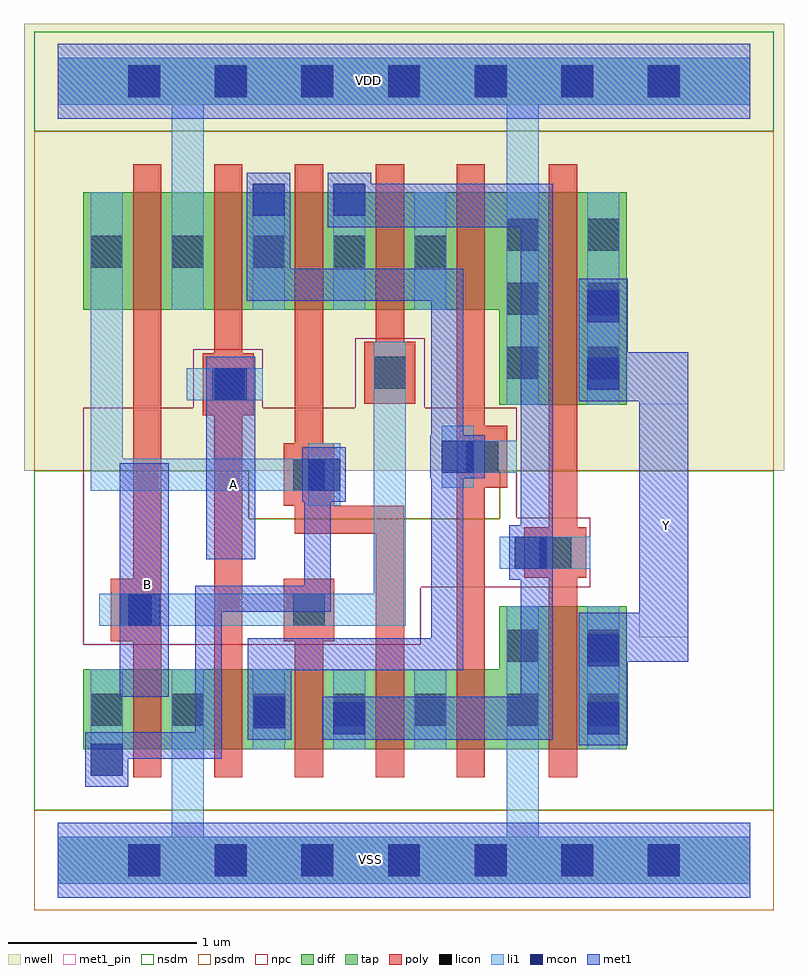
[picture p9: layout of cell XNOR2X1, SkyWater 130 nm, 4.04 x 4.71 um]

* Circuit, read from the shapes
.subckt XNOR2X1 A B VDD VSS Y
XM1 VSS B n1 VSS sky130_fd_pr__nfet_01v8 w=0.425 l=0.15
XM2 n2 A VSS VSS sky130_fd_pr__nfet_01v8 w=0.425 l=0.15
XM3 n3 B n2 VSS sky130_fd_pr__nfet_01v8 w=0.425 l=0.15
XM4 n4 n1 n3 VSS sky130_fd_pr__nfet_01v8 w=0.425 l=0.15
XM5 VSS n2 n4 VSS sky130_fd_pr__nfet_01v8 w=0.425 l=0.15
XM6 Y n3 VSS VSS sky130_fd_pr__nfet_01v8 w=0.76 l=0.15
XM7 VDD B n1 VDD sky130_fd_pr__pfet_01v8 w=0.625 l=0.15
XM8 n2 A VDD VDD sky130_fd_pr__pfet_01v8 w=0.625 l=0.15
XM9 n3 n1 n2 VDD sky130_fd_pr__pfet_01v8 w=0.625 l=0.15
XM10 n5 B n3 VDD sky130_fd_pr__pfet_01v8 w=0.625 l=0.15
XM11 VDD n2 n5 VDD sky130_fd_pr__pfet_01v8 w=0.625 l=0.15
XM12 Y n3 VDD VDD sky130_fd_pr__pfet_01v8 w=1.13 l=0.15
.ends

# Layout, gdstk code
from math import pi, radians
import gdstk
lib = gdstk.Library(unit=1e-6, precision=1e-09)
def R(c, l, rs):  # rectangles x0, y0, x1, y1
    for r in rs: c.add(gdstk.rectangle(r[:2], r[2:], *l))
def A(c, l, x, y, w, h, nx, ny, dx, dy):  # array of equal rectangles
    R(c, l, [(x+i*dx, y+j*dy, x+i*dx+w, y+j*dy+h) for i in range(nx) for j in range(ny)])
def P(c, l, *ps):  # polygons
    for p in ps: c.add(gdstk.Polygon(p, *l))
nwell = (64, 20)
diff = (65, 20)
tap = (65, 44)
poly = (66, 20)
licon = (66, 44)
li1 = (67, 20)
mcon = (67, 44)
met1_pin = (68, 16)
met1 = (68, 20)
nsdm = (93, 44)
psdm = (94, 20)
npc = (95, 20)

pfet_01v8_cdns_715785618 = lib.new_cell('pfet_01v8_CDNS_7157856182052')
R(pfet_01v8_cdns_715785618, nwell, [(-0.405,-0.18,0.385,0.805)])
R(pfet_01v8_cdns_715785618, diff, [(-0.225,0,0,0.625), (0,0,0.15,0.625), (0.15,0,0.205,0.625)])
R(pfet_01v8_cdns_715785618, poly, [(0,-0.15,0.15,-0.095), (0,-0.095,0.15,0), (0,0,0.15,0.625), (0,0.625,0.15,0.72), (0,0.72,0.15,0.775)])
R(pfet_01v8_cdns_715785618, licon, [(-0.225,0.225,-0.055,0.395)])
R(pfet_01v8_cdns_715785618, li1, [(-0.225,0,-0.055,0.625)])
R(pfet_01v8_cdns_715785618, psdm, [(-0.235,-0.13,0.215,0.755)])

c_pfet_01v8_cdns_715785618 = lib.new_cell('pfet_01v8_CDNS_7157856182032')
R(c_pfet_01v8_cdns_715785618, nwell, [(-0.405,-0.18,0.385,0.805)])
R(c_pfet_01v8_cdns_715785618, diff, [(-0.225,0,0,0.625), (0,0,0.15,0.625), (0.15,0,0.205,0.625)])
R(c_pfet_01v8_cdns_715785618, poly, [(0,-0.15,0.15,-0.095), (0,-0.095,0.15,0), (0,0,0.15,0.625), (0,0.625,0.15,0.72), (0,0.72,0.15,0.775)])
R(c_pfet_01v8_cdns_715785618, psdm, [(-0.235,-0.13,0.215,0.755)])

c_pfet_01v8_cdns_715785618_ = lib.new_cell('pfet_01v8_CDNS_7157856182035')
R(c_pfet_01v8_cdns_715785618_, nwell, [(-0.255,-0.18,0.385,0.805)])
R(c_pfet_01v8_cdns_715785618_, diff, [(-0.075,0,0,0.625), (0,0,0.15,0.625), (0.15,0,0.205,0.625)])
R(c_pfet_01v8_cdns_715785618_, poly, [(0,-0.15,0.15,-0.095), (0,-0.095,0.15,0), (0,0,0.15,0.625), (0,0.625,0.15,0.72), (0,0.72,0.15,0.775)])
R(c_pfet_01v8_cdns_715785618_, psdm, [(0.045,-0.13,0.215,0.755)])

nfet_01v8_cdns_715785618 = lib.new_cell('nfet_01v8_CDNS_7157856182030')
R(nfet_01v8_cdns_715785618, diff, [(-0.055,0,0,0.425), (0,0,0.15,0.425), (0.15,0,0.375,0.425)])
R(nfet_01v8_cdns_715785618, poly, [(0,-0.15,0.15,-0.095), (0,-0.095,0.15,0), (0,0,0.15,0.425), (0,0.425,0.15,0.52), (0,0.52,0.15,0.575)])
R(nfet_01v8_cdns_715785618, licon, [(0.205,0.125,0.375,0.295)])
R(nfet_01v8_cdns_715785618, li1, [(0.205,0,0.375,0.425)])
R(nfet_01v8_cdns_715785618, nsdm, [(-0.065,-0.13,0.385,0.555)])

c_pfet_01v8_cdns_715785618__ = lib.new_cell('pfet_01v8_CDNS_7157856182017')
R(c_pfet_01v8_cdns_715785618__, nwell, [(-0.235,-0.18,0.595,0.805)])
R(c_pfet_01v8_cdns_715785618__, diff, [(-0.055,0,0,0.625), (0,0,0.15,0.625), (0.15,0,0.415,0.625)])
R(c_pfet_01v8_cdns_715785618__, poly, [(0,-0.15,0.15,-0.095), (0,-0.095,0.15,0), (0,0,0.15,0.625), (0,0.625,0.15,0.72), (0,0.72,0.15,0.775)])
R(c_pfet_01v8_cdns_715785618__, licon, [(0.205,0.225,0.375,0.395)])
R(c_pfet_01v8_cdns_715785618__, li1, [(0.205,0,0.375,0.625)])
R(c_pfet_01v8_cdns_715785618__, psdm, [(-0.065,-0.13,0.555,0.755)])

c_pfet_01v8_cdns_715785618___ = lib.new_cell('pfet_01v8_CDNS_7157856182053')
R(c_pfet_01v8_cdns_715785618___, nwell, [(-0.405,-0.18,0.555,0.805)])
R(c_pfet_01v8_cdns_715785618___, diff, [(-0.225,0,0,0.625), (0,0,0.15,0.625), (0.15,0,0.375,0.625)])
R(c_pfet_01v8_cdns_715785618___, poly, [(0,-0.15,0.15,-0.095), (0,-0.095,0.15,0), (0,0,0.15,0.625), (0,0.625,0.15,0.72), (0,0.72,0.15,0.775)])
R(c_pfet_01v8_cdns_715785618___, licon, [(-0.225,0.225,-0.055,0.395), (0.205,0.225,0.375,0.395)])
R(c_pfet_01v8_cdns_715785618___, li1, [(-0.225,0,-0.055,0.625), (0.205,0,0.375,0.625)])
R(c_pfet_01v8_cdns_715785618___, psdm, [(-0.235,-0.13,0.385,0.755)])

c_pfet_01v8_cdns_715785618____ = lib.new_cell('pfet_01v8_CDNS_7157856182038')
R(c_pfet_01v8_cdns_715785618____, nwell, [(-0.445,-0.18,0.595,1.31)])
R(c_pfet_01v8_cdns_715785618____, diff, [(-0.265,0,0,1.13), (0,0,0.15,1.13), (0.15,0,0.415,1.13)])
R(c_pfet_01v8_cdns_715785618____, poly, [(0,-0.15,0.15,-0.095), (0,-0.095,0.15,0), (0,0,0.15,1.13), (0,1.13,0.15,1.225), (0,1.225,0.15,1.28)])
A(c_pfet_01v8_cdns_715785618____, licon, -0.225, 0.14, 0.17, 0.17, 1, 3, 0, 0.34)
A(c_pfet_01v8_cdns_715785618____, licon, 0.205, 0.14, 0.17, 0.17, 1, 3, 0, 0.34)
R(c_pfet_01v8_cdns_715785618____, li1, [(-0.225,0,-0.055,1.13), (0.205,0,0.375,1.13)])
R(c_pfet_01v8_cdns_715785618____, psdm, [(-0.405,-0.13,0.555,1.26)])

c_nfet_01v8_cdns_715785618 = lib.new_cell('nfet_01v8_CDNS_715785618208')
R(c_nfet_01v8_cdns_715785618, diff, [(-0.055,0,0,0.425), (0,0,0.15,0.425), (0.15,0,0.415,0.425)])
R(c_nfet_01v8_cdns_715785618, poly, [(0,-0.15,0.15,-0.095), (0,-0.095,0.15,0), (0,0,0.15,0.425), (0,0.425,0.15,0.52), (0,0.52,0.15,0.575)])
R(c_nfet_01v8_cdns_715785618, licon, [(0.205,0.125,0.375,0.295)])
R(c_nfet_01v8_cdns_715785618, li1, [(0.205,0,0.375,0.425)])
R(c_nfet_01v8_cdns_715785618, nsdm, [(-0.065,-0.13,0.555,0.555)])

c_nfet_01v8_cdns_715785618_ = lib.new_cell('nfet_01v8_CDNS_7157856182054')
R(c_nfet_01v8_cdns_715785618_, diff, [(-0.055,0,0,0.425), (0,0,0.15,0.425), (0.15,0,0.205,0.425)])
R(c_nfet_01v8_cdns_715785618_, poly, [(0,-0.15,0.15,-0.095), (0,-0.095,0.15,0), (0,0,0.15,0.425), (0,0.425,0.15,0.52), (0,0.52,0.15,0.575)])
R(c_nfet_01v8_cdns_715785618_, nsdm, [(-0.065,-0.13,0.215,0.555)])

c_nfet_01v8_cdns_715785618__ = lib.new_cell('nfet_01v8_CDNS_7157856182034')
R(c_nfet_01v8_cdns_715785618__, diff, [(-0.265,0,0,0.76), (0,0,0.15,0.76), (0.15,0,0.415,0.76)])
R(c_nfet_01v8_cdns_715785618__, poly, [(0,-0.15,0.15,-0.095), (0,-0.095,0.15,0), (0,0,0.15,0.76), (0,0.76,0.15,0.855), (0,0.855,0.15,0.91)])
R(c_nfet_01v8_cdns_715785618__, licon, [(-0.225,0.125,-0.055,0.295), (0.205,0.125,0.375,0.295), (-0.225,0.465,-0.055,0.635), (0.205,0.465,0.375,0.635)])
R(c_nfet_01v8_cdns_715785618__, li1, [(-0.225,0,-0.055,0.76), (0.205,0,0.375,0.76)])
R(c_nfet_01v8_cdns_715785618__, nsdm, [(-0.405,-0.13,0.555,0.89)])

c_nfet_01v8_cdns_715785618___ = lib.new_cell('nfet_01v8_CDNS_7157856182055')
R(c_nfet_01v8_cdns_715785618___, diff, [(-0.225,0,0,0.425), (0,0,0.15,0.425), (0.15,0,0.375,0.425)])
R(c_nfet_01v8_cdns_715785618___, poly, [(0,-0.15,0.15,-0.095), (0,-0.095,0.15,0), (0,0,0.15,0.425), (0,0.425,0.15,0.52), (0,0.52,0.15,0.575)])
R(c_nfet_01v8_cdns_715785618___, licon, [(-0.225,0.125,-0.055,0.295), (0.205,0.125,0.375,0.295)])
R(c_nfet_01v8_cdns_715785618___, li1, [(-0.225,0,-0.055,0.425), (0.205,0,0.375,0.425)])
R(c_nfet_01v8_cdns_715785618___, nsdm, [(-0.235,-0.13,0.385,0.555)])

c_nfet_01v8_cdns_715785618____ = lib.new_cell('nfet_01v8_CDNS_7157856182047')
R(c_nfet_01v8_cdns_715785618____, diff, [(-0.075,0,0,0.425), (0,0,0.15,0.425), (0.15,0,0.375,0.425)])
R(c_nfet_01v8_cdns_715785618____, poly, [(0,-0.15,0.15,-0.095), (0,-0.095,0.15,0), (0,0,0.15,0.425), (0,0.425,0.15,0.52), (0,0.52,0.15,0.575)])
R(c_nfet_01v8_cdns_715785618____, nsdm, [(0.045,-0.13,0.385,0.555)])

l1m1_c_cdns_715785618201 = lib.new_cell('L1M1_C_CDNS_7157856182010')
R(l1m1_c_cdns_715785618201, li1, [(-0.085,-0.085,0.085,0.165)])
R(l1m1_c_cdns_715785618201, mcon, [(-0.085,-0.085,0.085,0.085)])
R(l1m1_c_cdns_715785618201, met1, [(-0.115,-0.145,0.115,0.145)])

l1m1_c_cdns_715785618202 = lib.new_cell('L1M1_C_CDNS_715785618202')
R(l1m1_c_cdns_715785618202, li1, [(-0.085,-0.165,0.085,0.165)])
R(l1m1_c_cdns_715785618202, mcon, [(-0.085,-0.085,0.085,0.085)])
R(l1m1_c_cdns_715785618202, met1, [(-0.115,-0.145,0.115,0.145)])

pyl1con_c_cdns_715785618 = lib.new_cell('PYL1CON_C_CDNS_715785618200')
R(pyl1con_c_cdns_715785618, poly, [(-0.135,-0.165,0.135,0.165)])
R(pyl1con_c_cdns_715785618, licon, [(-0.085,-0.085,0.085,0.085)])
R(pyl1con_c_cdns_715785618, npc, [(-0.185,-0.185,0.185,0.185)])

c_l1m1_c_cdns_715785618201 = lib.new_cell('L1M1_C_CDNS_7157856182014')
R(c_l1m1_c_cdns_715785618201, li1, [(-0.085,-0.165,0.085,0.085)])
R(c_l1m1_c_cdns_715785618201, mcon, [(-0.085,-0.085,0.085,0.085)])
R(c_l1m1_c_cdns_715785618201, met1, [(-0.115,-0.145,0.115,0.145)])

l1m1_c_cdns_715785618206 = lib.new_cell('L1M1_C_CDNS_715785618206')
R(l1m1_c_cdns_715785618206, li1, [(-0.085,-0.165,0.085,0.165)])
R(l1m1_c_cdns_715785618206, mcon, [(-0.085,-0.085,0.085,0.085)])
R(l1m1_c_cdns_715785618206, met1, [(-0.145,-0.115,0.145,0.115)])

l1m1_c_cdns_715785618205 = lib.new_cell('L1M1_C_CDNS_715785618205')
R(l1m1_c_cdns_715785618205, li1, [(-0.085,-0.345,0.085,0.345)])
R(l1m1_c_cdns_715785618205, mcon, [(-0.085,-0.265,0.085,-0.095), (-0.085,0.095,0.085,0.265)])
R(l1m1_c_cdns_715785618205, met1, [(-0.115,-0.325,0.115,0.325)])

l1m1_c_cdns_715785618203 = lib.new_cell('L1M1_C_CDNS_715785618203')
R(l1m1_c_cdns_715785618203, li1, [(-0.165,-0.085,0.165,0.085)])
R(l1m1_c_cdns_715785618203, mcon, [(-0.085,-0.085,0.085,0.085)])
R(l1m1_c_cdns_715785618203, met1, [(-0.115,-0.145,0.115,0.145)])

xnor2x1 = lib.new_cell('XNOR2X1')
R(xnor2x1, nwell, [(-0.18,2.07,3.86,4.305), (-0.18,3.875,3.86,4.445)])
A(xnor2x1, licon, 0.375, -0.085, 0.17, 0.17, 7, 2, 0.46, 4.14)
R(xnor2x1, licon, [(1.895,0.715,2.065,0.885), (1.895,3.15,2.065,3.32)])
R(xnor2x1, li1, [(1.895,0.59,2.065,1.015), (1.895,2.925,2.065,3.55)])
A(xnor2x1, mcon, 0.375, -0.085, 0.17, 0.17, 7, 2, 0.46, 4.14)
R(xnor2x1, met1_pin, [(0.33,0.87,0.59,2.11), (3.09,1.185,3.35,2.425), (0.79,1.6,1.05,2.675)])
R(xnor2x1, nsdm, [(-0.125,3.875,3.805,4.405), (-0.125,3.93,3.805,4.35)])
P(xnor2x1, nsdm, [(3.805,2.07),(2.35,2.07),(2.35,1.815),(1.015,1.815),(1.015,2.07),(-0.125,2.07),(-0.125,0.265),(3.805,0.265)])
R(xnor2x1, psdm, [(-0.125,-0.265,3.805,0.265), (-0.125,-0.21,3.805,0.21)])
P(xnor2x1, psdm, [(3.805,3.875),(-0.125,3.875),(-0.125,2.07),(1.015,2.07),(1.015,1.815),(2.35,1.815),(2.35,2.07),(3.805,2.07)])
P(xnor2x1, npc, [(2.83,1.82),(2.44,1.82),(2.44,2.405),(0.135,2.405),(0.135,1.145),(1.93,1.145),(1.93,1.45),(2.83,1.45)])
xnor2x1.add(gdstk.FlexPath([(1.765,1.165),(1.765,1.81)], 0.15, ends=(0, 0.075), simple_path=True, layer=66, datatype=20))  # poly
xnor2x1.add(gdstk.FlexPath([(1.395,1.81),(1.765,1.81)], 0.15, ends="extended", simple_path=True, layer=66, datatype=20))  # poly
xnor2x1.add(gdstk.FlexPath([(1.335,2.05),(1.335,2.775)], 0.15, ends=(0.165, 0), simple_path=True, layer=66, datatype=20))  # poly
xnor2x1.add(gdstk.FlexPath([(1.335,2.05),(1.395,2.05)], 0.33, ends=(0.075, 0.075), simple_path=True, layer=66, datatype=20))  # poly
xnor2x1.add(gdstk.FlexPath([(1.335,1.81),(1.335,2.05)], 0.15, ends=(0.075, 0.165), simple_path=True, layer=66, datatype=20))  # poly
xnor2x1.add(gdstk.FlexPath([(1.335,2.05),(1.335,1.96)], 0.27, ends=(0.165, 0.075), simple_path=True, layer=66, datatype=20))  # poly
xnor2x1.add(gdstk.FlexPath([(1.765,2.775),(1.765,2.59)], 0.15, ends="flush", simple_path=True, layer=66, datatype=20))  # poly
xnor2x1.add(gdstk.FlexPath([(2.195,2.775),(2.195,1.095)], 0.15, ends="flush", simple_path=True, layer=66, datatype=20))  # poly
xnor2x1.add(gdstk.FlexPath([(0.905,2.88),(0.905,1.07)], 0.15, ends="flush", simple_path=True, layer=66, datatype=20))  # poly
xnor2x1.add(gdstk.FlexPath([(0.475,1.165),(0.475,2.85)], 0.15, ends="flush", simple_path=True, layer=66, datatype=20))  # poly
xnor2x1.add(gdstk.FlexPath([(2.685,2.27),(2.685,1.415)], 0.15, ends="flush", simple_path=True, layer=66, datatype=20))  # poly
xnor2x1.add(gdstk.FlexPath([(0.26,2.53),(0.18,2.53)], 0.17, ends=(0.085, 0), simple_path=True, layer=67, datatype=20))  # li1
xnor2x1.add(gdstk.FlexPath([(0.4,2.05),(0.26,2.05)], 0.17, ends=(0, 0.085), simple_path=True, layer=67, datatype=20))  # li1
xnor2x1.add(gdstk.FlexPath([(0.26,2.05),(0.26,2.53)], 0.17, ends="extended", simple_path=True, layer=67, datatype=20))  # li1
xnor2x1.add(gdstk.FlexPath([(0.685,2.53),(1.09,2.53)], 0.17, ends="flush", simple_path=True, layer=67, datatype=20))  # li1
xnor2x1.add(gdstk.FlexPath([(1.765,1.33),(1.765,2.755)], 0.17, ends=(0.085, 0), simple_path=True, layer=67, datatype=20))  # li1
xnor2x1.add(gdstk.FlexPath([(1.5,2.05),(0.4,2.05)], 0.17, ends="flush", simple_path=True, layer=67, datatype=20))  # li1
xnor2x1.add(gdstk.FlexPath([(2.135,2.145),(2.44,2.145)], 0.17, ends="flush", simple_path=True, layer=67, datatype=20))  # li1
xnor2x1.add(gdstk.FlexPath([(2.525,1.635),(2.83,1.635)], 0.17, ends="flush", simple_path=True, layer=67, datatype=20))  # li1
xnor2x1.add(gdstk.FlexPath([(0.26,2.53),(0.26,2.925)], 0.17, ends=(0.085, 0), simple_path=True, layer=67, datatype=20))  # li1
xnor2x1.add(gdstk.FlexPath([(1.765,1.33),(0.22,1.33)], 0.17, ends=(0.085, 0), simple_path=True, layer=67, datatype=20))  # li1
xnor2x1.add(gdstk.FlexPath([(1.85,1.33),(1.765,1.33)], 0.17, ends=(0, 0.085), simple_path=True, layer=67, datatype=20))  # li1
xnor2x1.add(gdstk.FlexPath([(2.47,0),(3.42,0)], 0.25, ends=(0.085, 0.085), simple_path=True, layer=67, datatype=20))  # li1
xnor2x1.add(gdstk.FlexPath([(3.42,0),(3.595,0)], 0.25, ends=(0.085, 0.085), simple_path=True, layer=67, datatype=20))  # li1
xnor2x1.add(gdstk.FlexPath([(0.69,0),(2.47,0)], 0.25, ends=(0.085, 0.085), simple_path=True, layer=67, datatype=20))  # li1
xnor2x1.add(gdstk.FlexPath([(3.595,0),(3.68,0)], 0.25, ends=(0.085, 0), simple_path=True, layer=67, datatype=20))  # li1
xnor2x1.add(gdstk.FlexPath([(0,0),(0.69,0)], 0.25, ends=(0, 0.085), simple_path=True, layer=67, datatype=20))  # li1
xnor2x1.add(gdstk.FlexPath([(2.47,4.14),(3.42,4.14)], 0.25, ends=(0.085, 0.085), simple_path=True, layer=67, datatype=20))  # li1
xnor2x1.add(gdstk.FlexPath([(0,4.14),(0.69,4.14)], 0.25, ends=(0, 0.085), simple_path=True, layer=67, datatype=20))  # li1
xnor2x1.add(gdstk.FlexPath([(3.42,4.14),(3.595,4.14)], 0.25, ends=(0.085, 0.085), simple_path=True, layer=67, datatype=20))  # li1
xnor2x1.add(gdstk.FlexPath([(0.69,4.14),(2.47,4.14)], 0.25, ends=(0.085, 0.085), simple_path=True, layer=67, datatype=20))  # li1
xnor2x1.add(gdstk.FlexPath([(3.595,4.14),(3.68,4.14)], 0.25, ends=(0.085, 0), simple_path=True, layer=67, datatype=20))  # li1
xnor2x1.add(gdstk.FlexPath([(2.47,0.655),(2.47,0)], 0.17, ends="flush", simple_path=True, layer=67, datatype=20))  # li1
xnor2x1.add(gdstk.FlexPath([(0.69,0.655),(0.69,0)], 0.17, ends="flush", simple_path=True, layer=67, datatype=20))  # li1
xnor2x1.add(gdstk.FlexPath([(2.47,3.55),(2.47,4.14)], 0.17, ends="flush", simple_path=True, layer=67, datatype=20))  # li1
xnor2x1.add(gdstk.FlexPath([(0.69,3.55),(0.69,4.14)], 0.17, ends="flush", simple_path=True, layer=67, datatype=20))  # li1
xnor2x1.add(gdstk.FlexPath([(0,4.14),(3.68,4.14)], 0.4, ends="flush", simple_path=True, layer=68, datatype=16))  # met1_pin
xnor2x1.add(gdstk.FlexPath([(0,0),(3.68,0)], 0.4, ends="flush", simple_path=True, layer=68, datatype=16))  # met1_pin
xnor2x1.add(gdstk.FlexPath([(1.38,2.05),(1.38,1.39)], 0.14, ends=(0, 0.07), simple_path=True, layer=68, datatype=20))  # met1
xnor2x1.add(gdstk.FlexPath([(1.38,1.39),(0.8,1.39)], 0.14, ends="extended", simple_path=True, layer=68, datatype=20))  # met1
xnor2x1.add(gdstk.FlexPath([(0.8,1.39),(0.8,0.61)], 0.14, ends="extended", simple_path=True, layer=68, datatype=20))  # met1
xnor2x1.add(gdstk.FlexPath([(0.8,0.61),(0.26,0.61)], 0.14, ends=(0.07, 0.115), simple_path=True, layer=68, datatype=20))  # met1
xnor2x1.add(gdstk.FlexPath([(2.9,1.185),(2.9,0.935)], 0.26, ends=(0.13, 0.325), simple_path=True, layer=68, datatype=20))  # met1
xnor2x1.add(gdstk.FlexPath([(3.22,1.185),(2.9,1.185)], 0.26, ends="extended", simple_path=True, layer=68, datatype=20))  # met1
xnor2x1.add(gdstk.FlexPath([(2.9,2.57),(2.9,2.765)], 0.26, ends=(0.13, 0.325), simple_path=True, layer=68, datatype=20))  # met1
xnor2x1.add(gdstk.FlexPath([(1.12,3.51),(1.12,3.06)], 0.23, ends=(0, 0.085), simple_path=True, layer=68, datatype=20))  # met1
xnor2x1.add(gdstk.FlexPath([(1.125,3.06),(2.07,3.06)], 0.17, ends=(0.115, 0.085), simple_path=True, layer=68, datatype=20))  # met1
xnor2x1.add(gdstk.FlexPath([(2.07,3.06),(2.07,1.095)], 0.17, ends="extended", simple_path=True, layer=68, datatype=20))  # met1
xnor2x1.add(gdstk.FlexPath([(2.07,1.095),(1.125,1.095)], 0.17, ends=(0.085, 0.115), simple_path=True, layer=68, datatype=20))  # met1
xnor2x1.add(gdstk.FlexPath([(3.22,1.185),(3.22,2.425)], 0.26, ends="flush", simple_path=True, layer=68, datatype=20))  # met1
xnor2x1.add(gdstk.FlexPath([(3.22,2.57),(2.9,2.57)], 0.26, ends="extended", simple_path=True, layer=68, datatype=20))  # met1
xnor2x1.add(gdstk.FlexPath([(0.92,1.6),(0.92,2.675)], 0.26, ends="flush", simple_path=True, layer=68, datatype=20))  # met1
xnor2x1.add(gdstk.FlexPath([(2.515,0.755),(1.54,0.755)], 0.23, ends=(0.115, 0), simple_path=True, layer=68, datatype=20))  # met1
xnor2x1.add(gdstk.FlexPath([(3.22,2.425),(3.22,2.57)], 0.26, ends=(0, 0.13), simple_path=True, layer=68, datatype=20))  # met1
xnor2x1.add(gdstk.FlexPath([(2.58,0.755),(2.515,0.755)], 0.23, ends=(0, 0.115), simple_path=True, layer=68, datatype=20))  # met1
xnor2x1.add(gdstk.FlexPath([(0.46,0.87),(0.46,2.11)], 0.26, ends="flush", simple_path=True, layer=68, datatype=20))  # met1
xnor2x1.add(gdstk.FlexPath([(2.545,3.595),(2.545,0.85)], 0.17, ends=(0, 0.085), simple_path=True, layer=68, datatype=20))  # met1
xnor2x1.add(gdstk.FlexPath([(1.125,1.095),(1.125,0.85)], 0.23, ends=(0.085, 0), simple_path=True, layer=68, datatype=20))  # met1
xnor2x1.add(gdstk.FlexPath([(2.505,3.48),(1.55,3.48)], 0.23, ends="flush", simple_path=True, layer=68, datatype=20))  # met1
xnor2x1.add(gdstk.FlexPath([(0.26,0.61),(0.26,0.535)], 0.23, ends=(0.07, 0), simple_path=True, layer=68, datatype=20))  # met1
xnor2x1.add(gdstk.FlexPath([(0,4.14),(3.68,4.14)], 0.4, ends="flush", simple_path=True, layer=68, datatype=20))  # met1
xnor2x1.add(gdstk.FlexPath([(0,0),(3.68,0)], 0.4, ends="flush", simple_path=True, layer=68, datatype=20))  # met1
xnor2x1.add(gdstk.FlexPath([(0,0),(3.68,0)], 0.25, ends="flush", simple_path=True, layer=65, datatype=44))  # tap
xnor2x1.add(gdstk.FlexPath([(0,4.14),(3.68,4.14)], 0.25, ends="flush", simple_path=True, layer=65, datatype=44))  # tap
xnor2x1.add(gdstk.Reference(pfet_01v8_cdns_715785618, (0.83,2.925)))
xnor2x1.add(gdstk.Reference(c_pfet_01v8_cdns_715785618, (1.84,2.925), rotation=pi, x_reflection=True))
xnor2x1.add(gdstk.Reference(c_pfet_01v8_cdns_715785618_, (2.27,2.925), rotation=pi, x_reflection=True))
xnor2x1.add(gdstk.Reference(nfet_01v8_cdns_715785618, (1.84,0.59), rotation=pi, x_reflection=True))
xnor2x1.add(gdstk.Reference(c_pfet_01v8_cdns_715785618__, (0.55,2.925), rotation=pi, x_reflection=True))
xnor2x1.add(gdstk.Reference(c_pfet_01v8_cdns_715785618___, (1.41,2.925), rotation=pi, x_reflection=True))
xnor2x1.add(gdstk.Reference(c_pfet_01v8_cdns_715785618____, (2.61,2.42)))
xnor2x1.add(gdstk.Reference(c_nfet_01v8_cdns_715785618, (0.55,0.59), rotation=pi, x_reflection=True))
xnor2x1.add(gdstk.Reference(c_nfet_01v8_cdns_715785618_, (1.26,0.59)))
xnor2x1.add(gdstk.Reference(c_nfet_01v8_cdns_715785618__, (2.61,0.59)))
xnor2x1.add(gdstk.Reference(c_nfet_01v8_cdns_715785618___, (0.83,0.59)))
xnor2x1.add(gdstk.Reference(c_nfet_01v8_cdns_715785618____, (2.27,0.59), rotation=pi, x_reflection=True))
xnor2x1.add(gdstk.Reference(l1m1_c_cdns_715785618201, (0.26,0.535)))
xnor2x1.add(gdstk.Reference(l1m1_c_cdns_715785618202, (1.125,0.785)))
xnor2x1.add(gdstk.Reference(l1m1_c_cdns_715785618202, (1.415,2.05), rotation=pi))
xnor2x1.add(gdstk.Reference(pyl1con_c_cdns_715785618, (0.415,1.33)))
xnor2x1.add(gdstk.Reference(pyl1con_c_cdns_715785618, (1.765,2.59)))
xnor2x1.add(gdstk.Reference(pyl1con_c_cdns_715785618, (0.905,2.53)))
xnor2x1.add(gdstk.Reference(pyl1con_c_cdns_715785618, (2.645,1.635), rotation=3*pi/2))
xnor2x1.add(gdstk.Reference(pyl1con_c_cdns_715785618, (1.335,1.33)))
xnor2x1.add(gdstk.Reference(pyl1con_c_cdns_715785618, (2.255,2.145)))
xnor2x1.add(gdstk.Reference(pyl1con_c_cdns_715785618, (1.335,2.05)))
xnor2x1.add(gdstk.Reference(c_l1m1_c_cdns_715785618201, (1.55,3.51)))
xnor2x1.add(gdstk.Reference(c_l1m1_c_cdns_715785618201, (1.12,3.51)))
xnor2x1.add(gdstk.Reference(l1m1_c_cdns_715785618206, (1.55,0.755)))
xnor2x1.add(gdstk.Reference(l1m1_c_cdns_715785618205, (2.9,0.935)))
xnor2x1.add(gdstk.Reference(l1m1_c_cdns_715785618205, (2.9,2.765)))
xnor2x1.add(gdstk.Reference(l1m1_c_cdns_715785618203, (2.515,1.635)))
xnor2x1.add(gdstk.Reference(l1m1_c_cdns_715785618203, (0.92,2.53), x_reflection=True))
xnor2x1.add(gdstk.Reference(l1m1_c_cdns_715785618203, (2.125,2.145), rotation=3*pi/2))
xnor2x1.add(gdstk.Reference(l1m1_c_cdns_715785618203, (0.46,1.33), x_reflection=True))
xnor2x1.add(gdstk.Label('VSS', (1.66,0.005), layer=68, texttype=16))
xnor2x1.add(gdstk.Label('VDD', (1.65,4.145), layer=68, texttype=16))
xnor2x1.add(gdstk.Label('Y', (3.235,1.78), layer=68, texttype=16))
xnor2x1.add(gdstk.Label('A', (0.935,1.995), layer=68, texttype=16))
xnor2x1.add(gdstk.Label('B', (0.475,1.465), layer=68, texttype=16))

lib.write_gds('XNOR2X1.gds')
